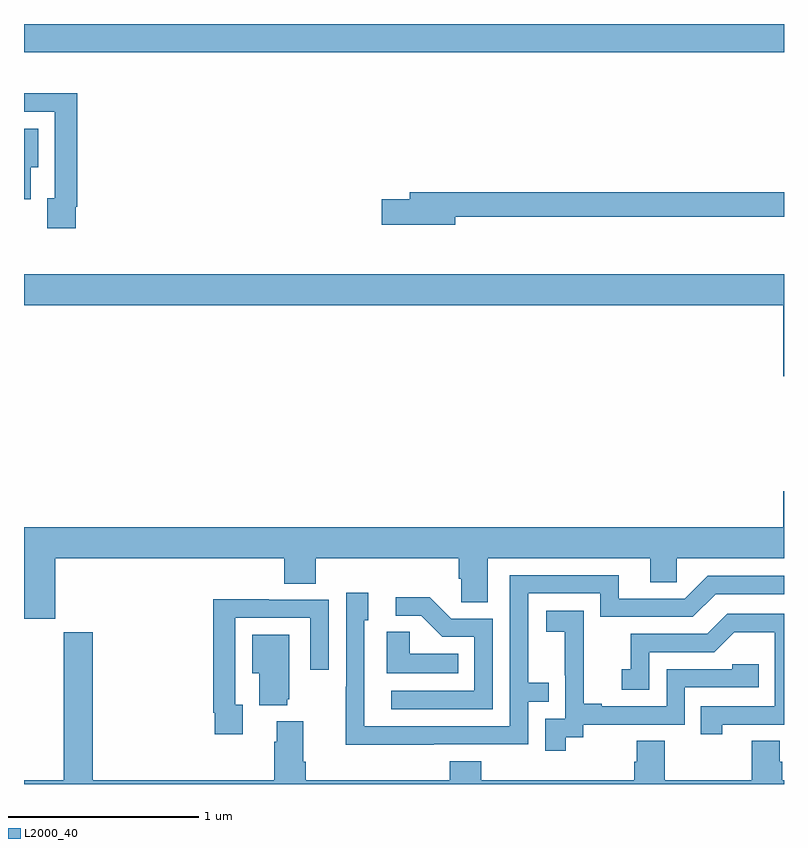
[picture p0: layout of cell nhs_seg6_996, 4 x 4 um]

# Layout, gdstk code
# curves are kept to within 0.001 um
import gdstk
lib = gdstk.Library(unit=1e-6, precision=1e-09)
def R(c, l, rs):  # rectangles x0, y0, x1, y1
    for r in rs: c.add(gdstk.rectangle(r[:2], r[2:], *l))
def P(c, l, *ps):  # polygons
    for p in ps: c.add(gdstk.Polygon(p, *l))
L2000_40 = (2000, 40)

nhs_seg6_996 = lib.new_cell('nhs_seg6_996')
R(nhs_seg6_996, L2000_40, [(173,931.352,177,931.5)])
P(nhs_seg6_996, L2000_40, [(173.272,930.538),(173.279,930.538),(173.279,931.136),(173,931.136),(173,931.038),(173.163,931.038),(173.163,930.582),(173.123,930.582),(173.123,930.426),(173.272,930.426)],
  [(173.035,930.746),(173.074,930.746),(173.074,930.949),(173,930.949),(173,930.578),(173.035,930.578)],
  [(175.27,930.486),(177,930.486),(177,930.614),(175.031,930.614),(175.031,930.578),(174.882,930.578),(174.882,930.443),(175.27,930.443)],
  [(177,930.184),(173,930.184),(173,930.02),(176.996,930.02),(176.996,929.646),(177,929.646)],
  [(173.164,928.688),(174.371,928.688),(174.371,928.555),(174.536,928.555),(174.536,928.688),(175.289,928.688),(175.289,928.579),(175.302,928.579),(175.302,928.456),(175.441,928.456),(175.441,928.688),(176.297,928.688),(176.297,928.561),(176.436,928.561),(176.436,928.688),(177,928.688),(177,929.041),(176.996,929.041),(176.996,928.852),(173,928.852),(173,928.371),(173.164,928.371)],
  [(175.157,927.708),(175.653,927.708),(175.653,927.933),(175.763,927.933),(175.763,928.034),(175.653,928.034),(175.653,928.503),(176.034,928.503),(176.034,928.38),(176.52,928.38),(176.64,928.5),(177,928.5),(177,928.596),(176.598,928.596),(176.478,928.476),(176.131,928.476),(176.131,928.599),(175.557,928.599),(175.557,927.804),(174.792,927.804),(174.792,928.362),(174.811,928.362),(174.811,928.507),(174.696,928.507),(174.696,928.013),(174.694,928.013),(174.694,927.707)],
  [(175.467,928.371),(175.248,928.371),(175.135,928.484),(174.957,928.484),(174.957,928.386),(175.091,928.386),(175.202,928.275),(175.371,928.275),(175.371,927.99),(174.933,927.99),(174.933,927.894),(175.467,927.894)],
  [(174.151,927.918),(174.111,927.918),(174.111,928.374),(174.507,928.374),(174.507,928.101),(174.603,928.101),(174.603,928.47),(174.287,928.47),(174.287,928.472),(173.995,928.472),(173.995,927.874),(174.003,927.874),(174.003,927.762),(174.151,927.762)],
  [(175.852,927.745),(175.944,927.745),(175.944,927.813),(176.478,927.813),(176.478,928.008),(176.867,928.008),(176.867,928.131),(176.727,928.131),(176.727,928.104),(176.382,928.104),(176.382,927.909),(176.041,927.909),(176.041,927.922),(175.946,927.922),(175.946,928.205),(175.947,928.205),(175.947,928.411),(175.749,928.411),(175.749,928.301),(175.847,928.301),(175.847,928.073),(175.848,928.073),(175.848,927.843),(175.743,927.843),(175.743,927.675),(175.852,927.675)],
  [(176.674,927.813),(177,927.813),(177,928.395),(176.702,928.395),(176.597,928.29),(176.194,928.29),(176.194,928.105),(176.145,928.105),(176.145,927.996),(176.292,927.996),(176.292,928.194),(176.634,928.194),(176.738,928.298),(176.952,928.298),(176.952,927.909),(176.563,927.909),(176.563,927.762),(176.674,927.762)],
  [(175.286,928.186),(175.029,928.186),(175.029,928.301),(174.908,928.301),(174.908,928.082),(175.286,928.082)],
  [(175.406,927.619),(175.241,927.619),(175.241,927.52),(174.482,927.52),(174.482,927.616),(174.469,927.616),(174.469,927.829),(174.329,927.829),(174.329,927.722),(174.317,927.722),(174.317,927.52),(173.363,927.52),(173.363,928.299),(173.21,928.299),(173.21,927.52),(173,927.52),(173,927.5),(177,927.5),(177,927.52),(176.99,927.52),(176.99,927.618),(176.977,927.618),(176.977,927.728),(176.83,927.728),(176.83,927.52),(176.373,927.52),(176.373,927.728),(176.225,927.728),(176.225,927.618),(176.213,927.618),(176.213,927.52),(175.406,927.52)],
  [(174.386,927.945),(174.397,927.945),(174.397,928.285),(174.2,928.285),(174.2,928.082),(174.239,928.082),(174.239,927.914),(174.386,927.914)])

lib.write_gds('nhs_seg6_996.gds')
